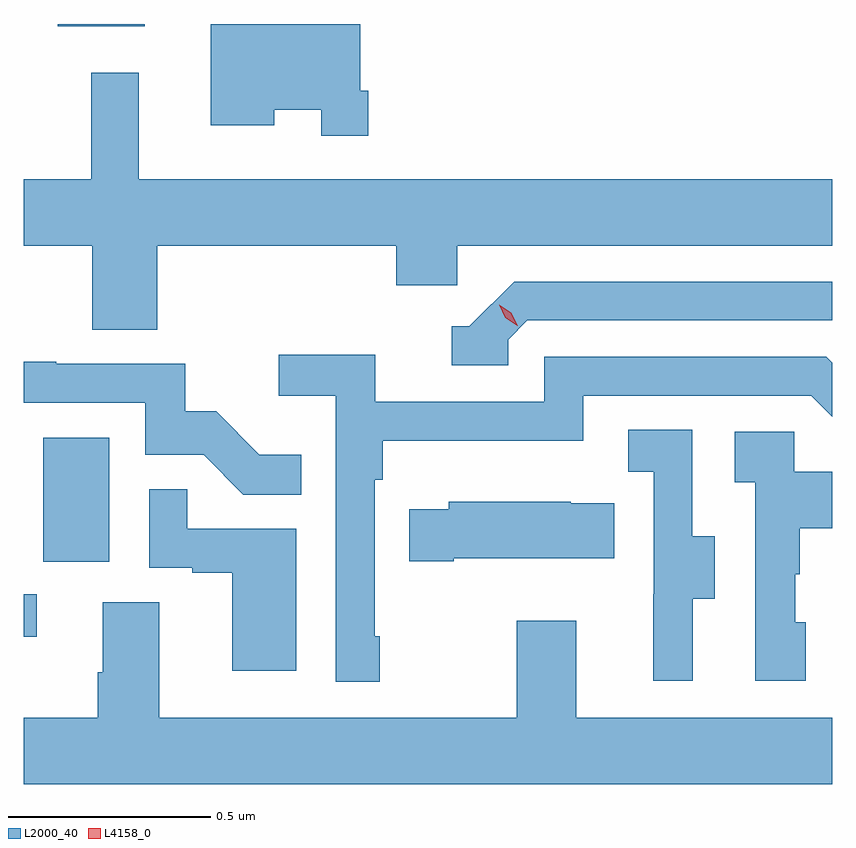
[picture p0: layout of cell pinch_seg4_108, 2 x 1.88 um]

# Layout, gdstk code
import gdstk
lib = gdstk.Library(unit=1e-6, precision=1e-09)
def R(c, l, rs):  # rectangles x0, y0, x1, y1
    for r in rs: c.add(gdstk.rectangle(r[:2], r[2:], *l))
def P(c, l, *ps):  # polygons
    for p in ps: c.add(gdstk.Polygon(p, *l))
L2000_40 = (2000, 40)
L4158_0 = (4158, 0)

pinch_seg4_108 = lib.new_cell('pinch_seg4_108')
R(pinch_seg4_108, L2000_40, [(1064.594,801.18,1064.626,801.285), (1064.642,801.366,1064.806,801.673), (1064.678,802.691,1064.893,802.696)])
P(pinch_seg4_108, L2000_40, [(1065.446,802.531),(1065.426,802.531),(1065.426,802.696),(1065.056,802.696),(1065.056,802.445),(1065.214,802.445),(1065.214,802.484),(1065.33,802.484),(1065.33,802.419),(1065.446,802.419)],
  [(1064.924,802.148),(1065.515,802.148),(1065.515,802.05),(1065.666,802.05),(1065.666,802.148),(1066.594,802.148),(1066.594,802.312),(1064.878,802.312),(1064.878,802.576),(1064.761,802.576),(1064.761,802.312),(1064.594,802.312),(1064.594,802.148),(1064.764,802.148),(1064.764,801.94),(1064.924,801.94)],
  [(1065.792,801.915),(1065.84,801.963),(1066.594,801.963),(1066.594,802.059),(1065.807,802.059),(1065.696,801.948),(1065.653,801.948),(1065.653,801.852),(1065.792,801.852)],
  [(1065.475,801.181),(1065.462,801.181),(1065.462,801.569),(1065.482,801.569),(1065.482,801.665),(1065.978,801.665),(1065.978,801.777),(1066.542,801.777),(1066.594,801.725),(1066.594,801.858),(1066.579,801.873),(1065.882,801.873),(1065.882,801.762),(1065.464,801.762),(1065.464,801.878),(1065.225,801.878),(1065.225,801.776),(1065.366,801.776),(1065.366,801.069),(1065.475,801.069)],
  [(1065.281,801.631),(1065.177,801.631),(1065.07,801.738),(1064.994,801.738),(1064.994,801.855),(1064.675,801.855),(1064.675,801.86),(1064.594,801.86),(1064.594,801.759),(1064.895,801.759),(1064.895,801.63),(1065.039,801.63),(1065.137,801.532),(1065.281,801.532)],
  [(1066.249,801.274),(1066.303,801.274),(1066.303,801.429),(1066.248,801.429),(1066.248,801.692),(1066.089,801.692),(1066.089,801.589),(1066.152,801.589),(1066.152,801.285),(1066.151,801.285),(1066.151,801.072),(1066.249,801.072)],
  [(1066.528,801.216),(1066.503,801.216),(1066.503,801.335),(1066.513,801.335),(1066.513,801.449),(1066.594,801.449),(1066.594,801.589),(1066.5,801.589),(1066.5,801.687),(1066.353,801.687),(1066.353,801.563),(1066.404,801.563),(1066.404,801.072),(1066.528,801.072)],
  [(1065.268,801.447),(1064.999,801.447),(1064.999,801.545),(1064.904,801.545),(1064.904,801.351),(1065.011,801.351),(1065.011,801.339),(1065.11,801.339),(1065.11,801.096),(1065.268,801.096)],
  [(1065.658,801.374),(1066.055,801.374),(1066.055,801.511),(1065.947,801.511),(1065.947,801.514),(1065.645,801.514),(1065.645,801.496),(1065.547,801.496),(1065.547,801.367),(1065.658,801.367)],
  [(1066.594,800.98),(1065.961,800.98),(1065.961,801.22),(1065.814,801.22),(1065.814,800.98),(1064.929,800.98),(1064.929,801.266),(1064.789,801.266),(1064.789,801.092),(1064.777,801.092),(1064.777,800.98),(1064.594,800.98),(1064.594,800.816),(1066.594,800.816)])
P(pinch_seg4_108, L4158_0, [(1065.815,801.949),(1065.785,801.969),(1065.77,802.002),(1065.77,802.002),(1065.77,802.002),(1065.8,801.982),(1065.816,801.949),(1065.816,801.949)])

lib.write_gds('pinch_seg4_108.gds')
